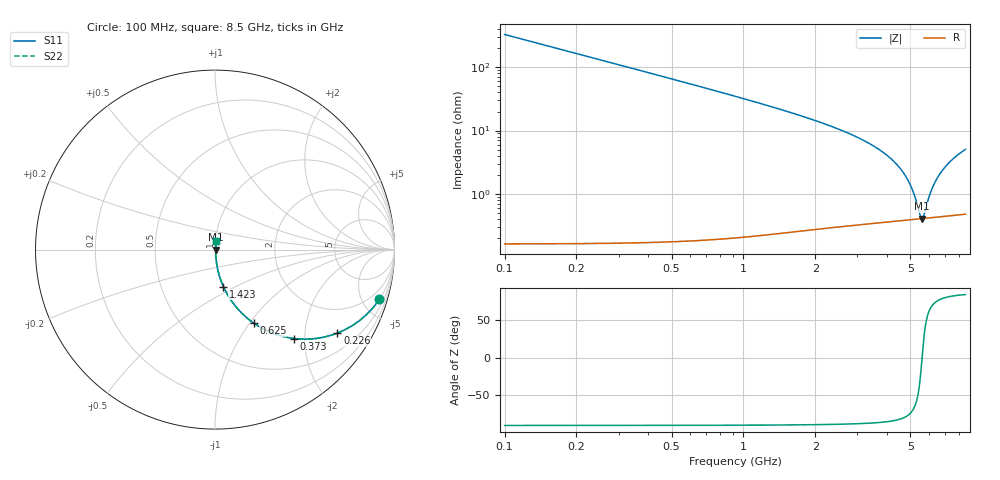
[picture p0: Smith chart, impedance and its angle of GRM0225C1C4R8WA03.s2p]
!Murata Part Number: GRM0225C1C4R8WA03
!These Parameters are Measured in Series Mode Connection
!Data Generated on Mar 30, 2021
!  o--ll--o
!Port1  Port2
!  o------o
!Operation Temp=25[degC], DC Bias Voltage=0[V]
!Freq. Start=100[MHz] Stop=9[GHz] 401[Steps]
# Hz S RI R 50
!Freq.(Hz) S11(Real) S11(Imag) S21(Real) S21(Imag) S12(Real) S12(Imag) S22(Real) S22(Imag)
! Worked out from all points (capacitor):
!   401 points, 100 MHz to 8.5 GHz, reference 50 ohm
!   read as one part in series: C = 4.8 pF near 142 MHz
!   lowest |Z| = 403 mohm at 5.602 GHz (marker M1)
!   series resonance near 5.596 GHz, so ESL is about 170 pH
!   S11 on the Smith chart (normalised r, x): 100 MHz: 1.00, -6.63; 226 MHz: 1.00, -2.93; 373 MHz: 1.00, -1.77; 625 MHz: 1.00, -1.05; 1.423 GHz: 1.00, -0.43; 8.5 GHz: 1.01, +0.10
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1e8  0.9165 -0.2765  0.0835 0.2765  0.0835 0.2765  0.9165 -0.2765
2.26e8  0.6818 -0.4652  0.3182 0.4652  0.3182 0.4652  0.6818 -0.4652
3.73e8  0.4391 -0.4953  0.5609 0.4953  0.5609 0.4953  0.4391 -0.4953
4.99e8  0.3031 -0.4583  0.6969 0.4583  0.6969 0.4583  0.3031 -0.4583
6.25e8  0.2158 -0.4097  0.7842 0.4097  0.7842 0.4097  0.2158 -0.4097
9.4e8  0.1062 -0.3051  0.8938 0.3051  0.8938 0.3051  0.1062 -0.3051
1.423e9  0.047 -0.2064  0.953 0.2064  0.953 0.2064  0.047 -0.2064
1.507e9  0.0418 -0.1943  0.9582 0.1943  0.9582 0.1943  0.0418 -0.1943
2.914e9  0.00981 -0.0812  0.9902 0.0812  0.9902 0.0812  0.00981 -0.0812
4.3e9  0.0046 -0.031  0.9954 0.031  0.9954 0.031  0.0046 -0.031
4.678e9  0.00419 -0.0209  0.9958 0.0209  0.9958 0.0209  0.00419 -0.0209
4.972e9  0.00403 -0.0138  0.996 0.0138  0.996 0.0138  0.00403 -0.0138
5.203e9  0.00397 -0.00846  0.996 0.00846  0.996 0.00846  0.00397 -0.00846
5.497e9  0.00399 -0.00208  0.996 0.00208  0.996 0.00208  0.00399 -0.00208
5.602e9  0.00401 0.000117  0.996 -0.000117  0.996 -0.000117  0.00401 0.000117
5.707e9  0.00405 0.00227  0.996 -0.00227  0.996 -0.00227  0.00405 0.00227
6.001e9  0.00418 0.00809  0.9958 -0.00809  0.9958 -0.00809  0.00418 0.00809
6.274e9  0.00437 0.0133  0.9956 -0.0133  0.9956 -0.0133  0.00437 0.0133
6.652e9  0.00469 0.0201  0.9953 -0.0201  0.9953 -0.0201  0.00469 0.0201
7.114e9  0.00518 0.028  0.9948 -0.028  0.9948 -0.028  0.00518 0.028
7.744e9  0.00601 0.0381  0.994 -0.0381  0.994 -0.0381  0.00601 0.0381
8.5e9  0.00718 0.0494  0.9928 -0.0494  0.9928 -0.0494  0.00718 0.0494
